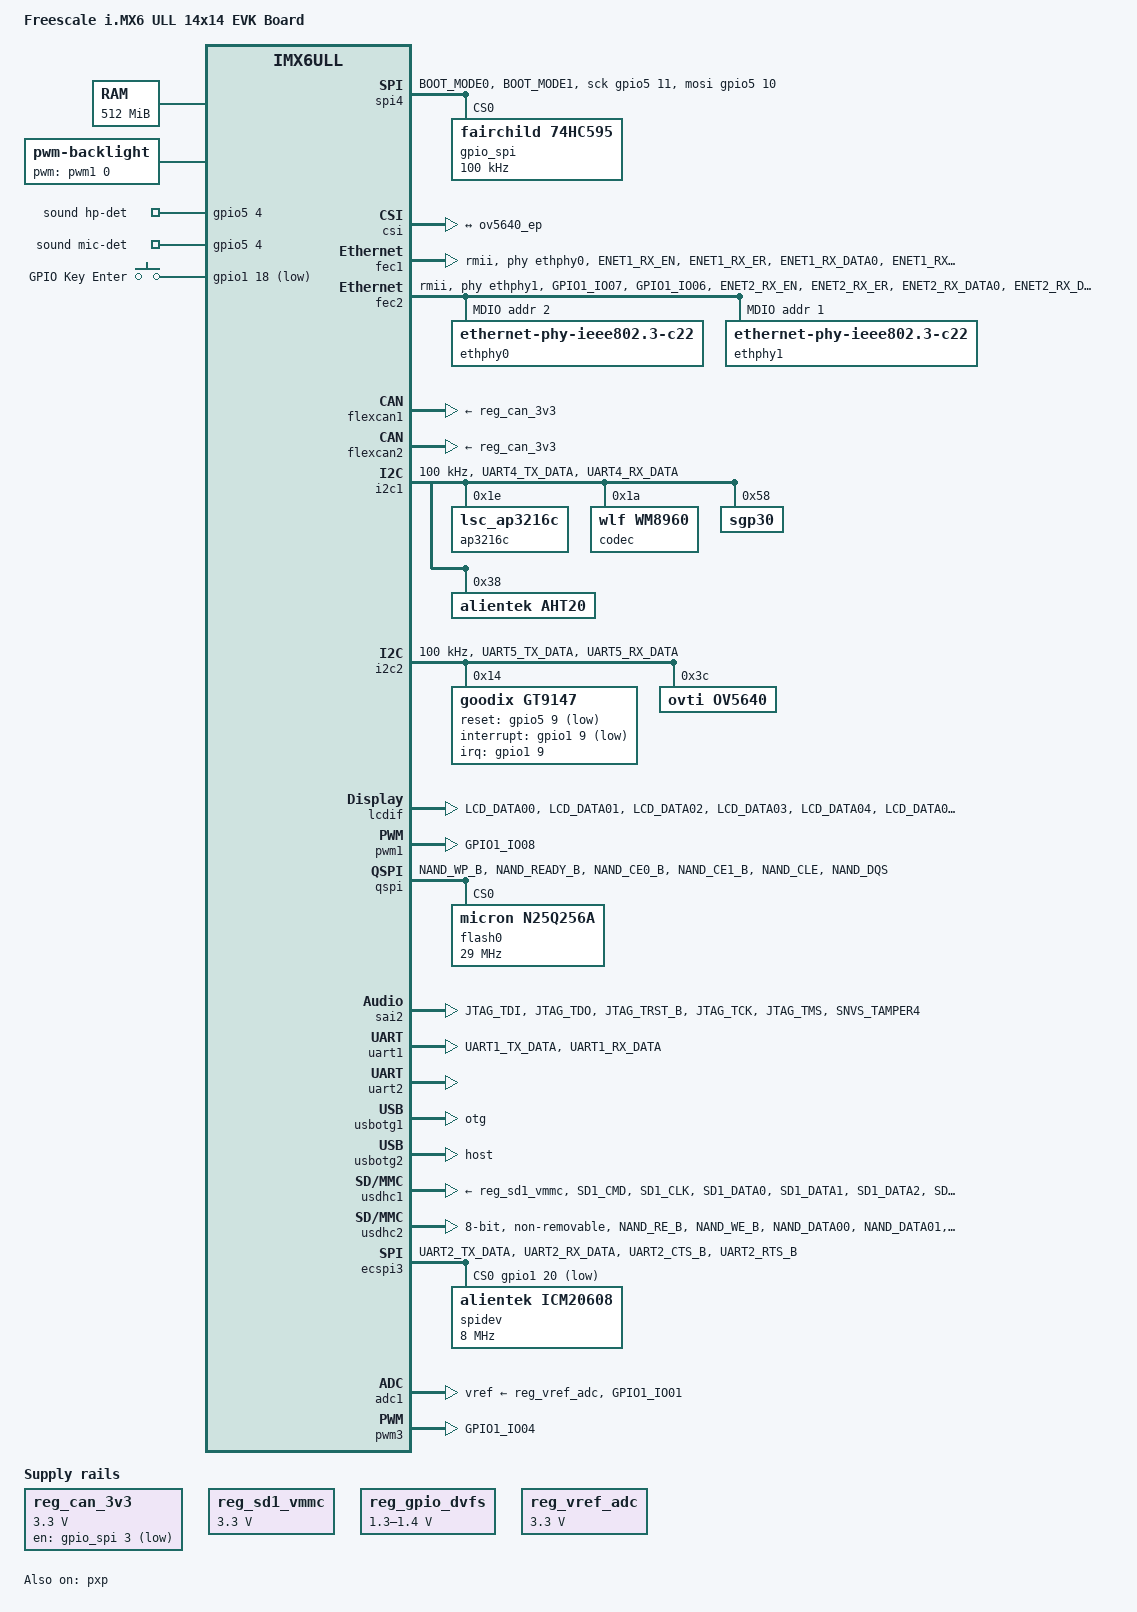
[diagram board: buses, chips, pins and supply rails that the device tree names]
/*
 * Copyright (C) 2016 Freescale Semiconductor, Inc.
 *
 * This program is free software; you can redistribute it and/or modify
 * it under the terms of the GNU General Public License version 2 as
 * published by the Free Software Foundation.
 */

/dts-v1/;

#include <dt-bindings/input/input.h>
#include "imx6ull.dtsi"

#define ATK_CAMERA_ON 1
#define ATK_CAMERA_OFF 0

/ {
	model = "Freescale i.MX6 ULL 14x14 EVK Board";
	compatible = "fsl,imx6ull-14x14-evk", "fsl,imx6ull";

	chosen {
		stdout-path = &uart1;
	};

	memory {
		reg = <0x80000000 0x20000000>;
	};

	reserved-memory {
		#address-cells = <1>;
		#size-cells = <1>;
		ranges;

		linux,cma {
			compatible = "shared-dma-pool";
			reusable;
			size = <0x14000000>;
			linux,cma-default;
		};
	};

	backlight {
		compatible = "pwm-backlight";
		pwms = <&pwm1 0 5000000>;
		brightness-levels = <0 4 8 16 32 64 128 255>;
		default-brightness-level = <6>;
		status = "okay";
	};

	pxp_v4l2 {
		compatible = "fsl,imx6ul-pxp-v4l2", "fsl,imx6sx-pxp-v4l2", "fsl,imx6sl-pxp-v4l2";
		status = "okay";
	};

	regulators {
		compatible = "simple-bus";
		#address-cells = <1>;
		#size-cells = <0>;

		reg_can_3v3: regulator@0 {
			compatible = "regulator-fixed";
			reg = <0>;
			regulator-name = "can-3v3";
			regulator-min-microvolt = <3300000>;
			regulator-max-microvolt = <3300000>;
			gpios = <&gpio_spi 3 GPIO_ACTIVE_LOW>;
		};

		// reg_vref_3v3: regulator@4 {
		// 	compatible = "regulator-fixed";
		// 	regulator-name = "VREF-3V3";
		// 	regulator-min-microvolt = <3300000>;
		// 	regulator-max-microvolt = <3300000>;
		//};	

		reg_sd1_vmmc: regulator@1 {
			compatible = "regulator-fixed";
			regulator-name = "VSD_3V3";
			regulator-min-microvolt = <3300000>;
			regulator-max-microvolt = <3300000>;
			enable-active-high;
		};

		reg_gpio_dvfs: regulator-gpio {
			compatible = "regulator-gpio";
			pinctrl-names = "default";
			pinctrl-0 = <&pinctrl_dvfs>;
			regulator-min-microvolt = <1300000>;
			regulator-max-microvolt = <1400000>;
			regulator-name = "gpio_dvfs";
			regulator-type = "voltage";
			gpios = <&gpio5 3 GPIO_ACTIVE_HIGH>;
			states = <1300000 0x1 1400000 0x0>;
		};

		/* 添加参考电源子节点 */
		reg_vref_adc: regulator@2 {
			compatible = "regulator-fixed";
			regulator-name = "VREF_3V3";
			regulator-min-microvolt = <3300000>;
			regulator-max-microvolt = <3300000>;
		};
	};

	sound {
		compatible = "fsl,imx6ul-evk-wm8960",
			   "fsl,imx-audio-wm8960";
		model = "wm8960-audio";
		cpu-dai = <&sai2>;
		audio-codec = <&codec>;
		asrc-controller = <&asrc>;
		codec-master;
		gpr = <&gpr 4 0x100000 0x100000>;
		/*
                 * hp-det = <hp-det-pin hp-det-polarity>;
		 * hp-det-pin: JD1 JD2  or JD3
		 * hp-det-polarity = 0: hp detect high for headphone
		 * hp-det-polarity = 1: hp detect high for speaker
		 */
		hp-det = <3 0>;
		hp-det-gpios = <&gpio5 4 0>;
		mic-det-gpios = <&gpio5 4 0>;
		audio-routing =
			"Headphone Jack", "HP_L",
			"Headphone Jack", "HP_R",
			"Ext Spk", "SPK_LP",
			"Ext Spk", "SPK_LN",
			"Ext Spk", "SPK_RP",
			"Ext Spk", "SPK_RN",
			"LINPUT2", "Mic Jack",
			"LINPUT3", "Mic Jack",
			"RINPUT1", "Main MIC",
			"RINPUT2", "Main MIC",
			"Mic Jack", "MICB",
			"Main MIC", "MICB",
			"CPU-Playback", "ASRC-Playback",
			"Playback", "CPU-Playback",
			"ASRC-Capture", "CPU-Capture",
			"CPU-Capture", "Capture";
	};

	spi4 {
		compatible = "spi-gpio";
		pinctrl-names = "default";
		pinctrl-0 = <&pinctrl_spi4>;
		status = "okay";
		gpio-sck = <&gpio5 11 0>;
		gpio-mosi = <&gpio5 10 0>;
		//cs-gpios = <&gpio5 7 0>;
		#address-cells = <1>;
		#size-cells = <0>;

		gpio_spi: gpio_spi@0 {
			compatible = "fairchild,74hc595";
			gpio-controller;
			#gpio-cells = <2>;
			reg = <0>;
			registers-number = <1>;
			registers-default = /bits/ 8 <0x57>;
			spi-max-frequency = <100000>;
		};	
	};

	/* I.MX6ULL  LED*/
	/*
	imx_led{
		pinctrl-name = "default";
		compatible = "imx_led";
		pinctrl-0 = <&pinctrl_led>;
		gpio_led = <&gpio1 9 GPIO_ACTIVE_HIGH>;
	};
	*/
	/* I.MX6ULL  BEEP*/
	imx_beep{
		pinctrl-name = "default";
		pinctrl-0 = <&pinctrl_beep>;
		gpio_beep = <&gpio5 1 GPIO_ACTIVE_LOW>;
	};

	gpio-keys { 
		compatible = "gpio-keys";
		#address-cells = <1>;
		#size-cells = <0>;
		autorepeat;  
		key0 { 
			label = "GPIO Key Enter"; 
			linux,code = <KEY_ENTER>;
			gpios = <&gpio1 18 GPIO_ACTIVE_LOW>;
		};
	};

	/* 风扇 */
	imx_fan{
		pinctrl-name = "default";
		pinctrl-0 = <&pinctrl_fan>;
		gpio_fan = <&gpio1 26 GPIO_ACTIVE_LOW>;
	};

	/* 灌溉设备 */
	imx_irr{
		pinctrl-name = "default";
		pinctrl-0 = <&pinctrl_irr>;
		gpio_irr = <&gpio1 27 GPIO_ACTIVE_LOW>;
	};
};

&cpu0 {
	arm-supply = <&reg_arm>;
	soc-supply = <&reg_soc>;
	dc-supply = <&reg_gpio_dvfs>;
};

&clks {
	assigned-clocks = <&clks IMX6UL_CLK_PLL4_AUDIO_DIV>;
	assigned-clock-rates = <786432000>;
};

&csi {
	status = "okay";

	port {
		csi1_ep: endpoint {
			remote-endpoint = <&ov5640_ep>;
		};
	};
};

&fec1 {
	pinctrl-names = "default";
	pinctrl-0 = <&pinctrl_enet1
				 &pinctrl_enet1_reset>;
	phy-mode = "rmii";
	phy-handle = <&ethphy0>;
	phy-reset-gpios = <&gpio5 7 GPIO_ACTIVE_LOW>;
	phy-reset-duration = <200>;
	status = "okay";
};

&fec2 {
	pinctrl-names = "default";
	pinctrl-0 = <&pinctrl_enet2
				 &pinctrl_enet2_reset>;
	phy-mode = "rmii";
	phy-handle = <&ethphy1>;
	phy-reset-gpios = <&gpio5 8 GPIO_ACTIVE_LOW>;
	phy-reset-duration = <200>;
	status = "okay";

	mdio {
		#address-cells = <1>;
		#size-cells = <0>;

		ethphy0: ethernet-phy@2 {
			compatible = "ethernet-phy-ieee802.3-c22";
			smsc,disable-energy-detect;
			reg = <2>;
		};

		ethphy1: ethernet-phy@1 {
			compatible = "ethernet-phy-ieee802.3-c22";
			smsc,disable-energy-detect;
			reg = <1>;
		};
	};
};

&flexcan1 {
	pinctrl-names = "default";
	pinctrl-0 = <&pinctrl_flexcan1>;
	xceiver-supply = <&reg_can_3v3>;
	status = "okay";
};

&flexcan2 {
	pinctrl-names = "default";
	pinctrl-0 = <&pinctrl_flexcan2>;
	xceiver-supply = <&reg_can_3v3>;
	status = "okay";
};

&gpc {
	fsl,cpu_pupscr_sw2iso = <0x1>;
	fsl,cpu_pupscr_sw = <0x0>;
	fsl,cpu_pdnscr_iso2sw = <0x1>;
	fsl,cpu_pdnscr_iso = <0x1>;
	fsl,ldo-bypass = <0>; /* DCDC, ldo-enable */
};

&i2c1 {
	clock-frequency = <100000>;
	pinctrl-names = "default";
	pinctrl-0 = <&pinctrl_i2c1>;
	status = "okay";

	ap3216c@1e{
		compatible = "lsc_ap3216c";
		reg = <0x1e>;
	};

	/* 音频编解码芯片 */
	codec: wm8960@1a {
		compatible = "wlf,wm8960";
		reg = <0x1a>;
		clocks = <&clks IMX6UL_CLK_SAI2>;
		clock-names = "mclk";
		wlf,shared-lrclk;
	};
	
	/* SGP30二氧化碳检测传感器 */
	sgp30@58{
		compatible = "sgp30";
		reg = <0x58>;
	};

	/* AHT20温湿度传感器 */
	//因为引脚有冲突，调试时此传感器只能与sgp30二选一使用，同时使用只能用一拖二的杜邦线或者用面包板当中转
	aht20@38{
		compatible = "alientek,aht20";
		reg = <0x38>;
	};
};

&i2c2 {
	clock-frequency = <100000>;
	pinctrl-names = "default";
	pinctrl-0 = <&pinctrl_i2c2>;
	status = "okay";

	// /* 7寸FT5426触摸芯片 */
	// ft5426: ft5426@38 {
	// 	compatible = "edt,edt-ft5426","edt,edt-ft5406";
	// 	reg = <0x38>;
	// 	pinctrl-names = "default";
	// 	pinctrl-0 = <&pinctrl_tsc
	// 				&pinctrl_tsc_reset>;
	// 	interrupt-parent = <&gpio1>;
	// 	interrupts = <9 8>;/* 中断号9 下降沿触发 */
	// 	reset-gpios = <&gpio5 9 GPIO_ACTIVE_LOW>;/* 复位引脚低点平有效 */
	// 	interrupt-gpios = <&gpio1 9 GPIO_ACTIVE_LOW>;/* 中断引脚 gpio1 io9 低点平有效 */
	// 	status = "okay";
	// };

	/* 添加GT9147芯片的信息 */
	gt9147: gt9147@14 {
		compatible = "goodix,gt9147", "goodix,gt9xx";
		reg = <0x14>;									//器件地址为0x14
		pinctrl-names = "default";
		pinctrl-0 = <&pinctrl_tsc
					&pinctrl_tsc_reset>;				//描述复位IO和中断IO所使用的节点
		interrupt-parent = <&gpio1>;					//中断对应的GPIO组为GPIO1
		interrupts = <9 0>;								//中断IO对应的是GPIO1组的IO09
		reset-gpios = <&gpio5 9 GPIO_ACTIVE_LOW>;		//复位IO对应的GPIO为GPIO5_IO09
		interrupt-gpios = <&gpio1 9 GPIO_ACTIVE_LOW>;	//中断IO对应的GPIO为GPIO1_IO09
	};

	// codec: wm8960@1a {
	// 	compatible = "wlf,wm8960";
	// 	reg = <0x1a>;
	// 	clocks = <&clks IMX6UL_CLK_SAI2>;
	// 	clock-names = "mclk";
	// 	wlf,shared-lrclk;
	// };
#if ATK_CAMERA_ON
		ov5640: ov5640@3c {
		compatible = "ovti,ov5640";
		reg = <0x3c>;
		pinctrl-names = "default";
		//pinctrl-0 = <&pinctrl_csi1
		//	     &csi_pwn_rst>;
		//clocks = <&clks IMX6UL_CLK_CSI>;
		clock-names = "csi_mclk";
		//pwn-gpios = <&gpio1 4 1>;
		//rst-gpios = <&gpio1 2 0>;
		csi_id = <0>;
		mclk = <24000000>;
		mclk_source = <0>;
		status = "okay";
		port {
			ov5640_ep: endpoint {
				//remote-endpoint = <&csi1_ep>;
			};
		};
	};
#endif
};

&iomuxc {
	pinctrl-names = "default";
	pinctrl-0 = <&pinctrl_hog_1>;
	imx6ul-evk {
		pinctrl_hog_1: hoggrp-1 {
			fsl,pins = <
				MX6UL_PAD_UART1_RTS_B__GPIO1_IO19	0x17059 /* SD1 CD */
				MX6UL_PAD_GPIO1_IO05__USDHC1_VSELECT	0x17059 /* SD1 VSELECT */
			>;
		};

		pinctrl_csi1: csi1grp {
			fsl,pins = <
				MX6UL_PAD_CSI_MCLK__CSI_MCLK		0x1b008
				MX6UL_PAD_CSI_PIXCLK__CSI_PIXCLK	0x1b008
				MX6UL_PAD_CSI_VSYNC__CSI_VSYNC		0x1b008
				MX6UL_PAD_CSI_HSYNC__CSI_HSYNC		0x1b008
				MX6UL_PAD_CSI_DATA00__CSI_DATA02	0x1b008
				MX6UL_PAD_CSI_DATA01__CSI_DATA03	0x1b008
				MX6UL_PAD_CSI_DATA02__CSI_DATA04	0x1b008
				MX6UL_PAD_CSI_DATA03__CSI_DATA05	0x1b008
				MX6UL_PAD_CSI_DATA04__CSI_DATA06	0x1b008
				MX6UL_PAD_CSI_DATA05__CSI_DATA07	0x1b008
				MX6UL_PAD_CSI_DATA06__CSI_DATA08	0x1b008
				MX6UL_PAD_CSI_DATA07__CSI_DATA09	0x1b008
			>;
		};

		pinctrl_enet1: enet1grp {
			fsl,pins = <
				MX6UL_PAD_ENET1_RX_EN__ENET1_RX_EN	0x1b0b0
				MX6UL_PAD_ENET1_RX_ER__ENET1_RX_ER	0x1b0b0
				MX6UL_PAD_ENET1_RX_DATA0__ENET1_RDATA00	0x1b0b0
				MX6UL_PAD_ENET1_RX_DATA1__ENET1_RDATA01	0x1b0b0
				MX6UL_PAD_ENET1_TX_EN__ENET1_TX_EN	0x1b0b0
				MX6UL_PAD_ENET1_TX_DATA0__ENET1_TDATA00	0x1b0b0
				MX6UL_PAD_ENET1_TX_DATA1__ENET1_TDATA01	0x1b0b0
				MX6UL_PAD_ENET1_TX_CLK__ENET1_REF_CLK1	0x4001b031
			>;
		};

		pinctrl_enet2: enet2grp {
			fsl,pins = <
				MX6UL_PAD_GPIO1_IO07__ENET2_MDC		0x1b0b0
				MX6UL_PAD_GPIO1_IO06__ENET2_MDIO	0x1b0b0
				MX6UL_PAD_ENET2_RX_EN__ENET2_RX_EN	0x1b0b0
				MX6UL_PAD_ENET2_RX_ER__ENET2_RX_ER	0x1b0b0
				MX6UL_PAD_ENET2_RX_DATA0__ENET2_RDATA00	0x1b0b0
				MX6UL_PAD_ENET2_RX_DATA1__ENET2_RDATA01	0x1b0b0
				MX6UL_PAD_ENET2_TX_EN__ENET2_TX_EN	0x1b0b0
				MX6UL_PAD_ENET2_TX_DATA0__ENET2_TDATA00	0x1b0b0
				MX6UL_PAD_ENET2_TX_DATA1__ENET2_TDATA01	0x1b0b0
				MX6UL_PAD_ENET2_TX_CLK__ENET2_REF_CLK2	0x4001b031
			>;
		};

		pinctrl_flexcan1: flexcan1grp{
			fsl,pins = <
			/*
				MX6UL_PAD_UART3_RTS_B__FLEXCAN1_RX	0x1b020
				MX6UL_PAD_UART3_CTS_B__FLEXCAN1_TX	0x1b020
			*/
			>;
		};

		pinctrl_flexcan2: flexcan2grp{
			fsl,pins = <
				/*
				MX6UL_PAD_UART2_RTS_B__FLEXCAN2_RX	0x1b020
				MX6UL_PAD_UART2_CTS_B__FLEXCAN2_TX	0x1b020
				*/
			>;
		};

		pinctrl_i2c1: i2c1grp {
			fsl,pins = <
				MX6UL_PAD_UART4_TX_DATA__I2C1_SCL 0x4001b8b0
				MX6UL_PAD_UART4_RX_DATA__I2C1_SDA 0x4001b8b0
				
			>;
		};

		pinctrl_i2c2: i2c2grp {
			fsl,pins = <
				MX6UL_PAD_UART5_TX_DATA__I2C2_SCL 0x4001b8b0
				MX6UL_PAD_UART5_RX_DATA__I2C2_SDA 0x4001b8b0
			>;
		};

		pinctrl_lcdif_dat: lcdifdatgrp {
			fsl,pins = <
				MX6UL_PAD_LCD_DATA00__LCDIF_DATA00  0x49
				MX6UL_PAD_LCD_DATA01__LCDIF_DATA01  0x49
				MX6UL_PAD_LCD_DATA02__LCDIF_DATA02  0x49
				MX6UL_PAD_LCD_DATA03__LCDIF_DATA03  0x49
				MX6UL_PAD_LCD_DATA04__LCDIF_DATA04  0x49
				MX6UL_PAD_LCD_DATA05__LCDIF_DATA05  0x49
				MX6UL_PAD_LCD_DATA06__LCDIF_DATA06  0x49
				MX6UL_PAD_LCD_DATA07__LCDIF_DATA07  0x49
				MX6UL_PAD_LCD_DATA08__LCDIF_DATA08  0x49
				MX6UL_PAD_LCD_DATA09__LCDIF_DATA09  0x49
				MX6UL_PAD_LCD_DATA10__LCDIF_DATA10  0x49
				MX6UL_PAD_LCD_DATA11__LCDIF_DATA11  0x49
				MX6UL_PAD_LCD_DATA12__LCDIF_DATA12  0x49
				MX6UL_PAD_LCD_DATA13__LCDIF_DATA13  0x49
				MX6UL_PAD_LCD_DATA14__LCDIF_DATA14  0x49
				MX6UL_PAD_LCD_DATA15__LCDIF_DATA15  0x49
				MX6UL_PAD_LCD_DATA16__LCDIF_DATA16  0x49
				MX6UL_PAD_LCD_DATA17__LCDIF_DATA17  0x49
				MX6UL_PAD_LCD_DATA18__LCDIF_DATA18  0x49
				MX6UL_PAD_LCD_DATA19__LCDIF_DATA19  0x49
				MX6UL_PAD_LCD_DATA20__LCDIF_DATA20  0x49
				MX6UL_PAD_LCD_DATA21__LCDIF_DATA21  0x49
				MX6UL_PAD_LCD_DATA22__LCDIF_DATA22  0x49
				MX6UL_PAD_LCD_DATA23__LCDIF_DATA23  0x49
			>;
		};

		pinctrl_lcdif_ctrl: lcdifctrlgrp {
			fsl,pins = <
				MX6UL_PAD_LCD_CLK__LCDIF_CLK	    0x49
				MX6UL_PAD_LCD_ENABLE__LCDIF_ENABLE  0x49
				MX6UL_PAD_LCD_HSYNC__LCDIF_HSYNC    0x49
				MX6UL_PAD_LCD_VSYNC__LCDIF_VSYNC    0x49
			>;
		};
		/* 添加pwm1的pinctrl子系统 */
		pinctrl_pwm1: pwm1grp {
			fsl,pins = <
				MX6UL_PAD_GPIO1_IO08__PWM1_OUT   0x110b0
			>;
		};

		pinctrl_qspi: qspigrp {
			fsl,pins = <
				MX6UL_PAD_NAND_WP_B__QSPI_A_SCLK      0x70a1
				MX6UL_PAD_NAND_READY_B__QSPI_A_DATA00 0x70a1
				MX6UL_PAD_NAND_CE0_B__QSPI_A_DATA01   0x70a1
				MX6UL_PAD_NAND_CE1_B__QSPI_A_DATA02   0x70a1
				MX6UL_PAD_NAND_CLE__QSPI_A_DATA03     0x70a1
				MX6UL_PAD_NAND_DQS__QSPI_A_SS0_B      0x70a1
			>;
		};

		pinctrl_sai2: sai2grp {
			fsl,pins = <
				MX6UL_PAD_JTAG_TDI__SAI2_TX_BCLK	0x17088
				MX6UL_PAD_JTAG_TDO__SAI2_TX_SYNC	0x17088
				MX6UL_PAD_JTAG_TRST_B__SAI2_TX_DATA	0x11088
				MX6UL_PAD_JTAG_TCK__SAI2_RX_DATA	0x11088
				MX6UL_PAD_JTAG_TMS__SAI2_MCLK		0x17088
			>;
		};

		pinctrl_tsc: tscgrp {
			fsl,pins = <
				/*MX6UL_PAD_GPIO1_IO09__GPIO1_IO09 0xF080*/
				/* 4.3 寸 RGB 屏幕,GT9147 */
				MX6UL_PAD_GPIO1_IO09__GPIO1_IO09 	0x79		/* 触摸屏中断IO */
			>;
		};

		pinctrl_uart1: uart1grp {
			fsl,pins = <
				MX6UL_PAD_UART1_TX_DATA__UART1_DCE_TX 0x1b0b1
				MX6UL_PAD_UART1_RX_DATA__UART1_DCE_RX 0x1b0b1
			>;
		};

		pinctrl_uart2: uart2grp {
			fsl,pins = <
				/*
				MX6UL_PAD_UART2_TX_DATA__UART2_DCE_TX	0x1b0b1
				MX6UL_PAD_UART2_RX_DATA__UART2_DCE_RX	0x1b0b1
				MX6UL_PAD_UART3_RX_DATA__UART2_DCE_RTS	0x1b0b1 
				MX6UL_PAD_UART3_TX_DATA__UART2_DCE_CTS	0x1b0b1
				*/
			>;
		};

		pinctrl_uart2dte: uart2dtegrp {
			fsl,pins = <
				/*
				MX6UL_PAD_UART2_TX_DATA__UART2_DTE_RX	0x1b0b1
				MX6UL_PAD_UART2_RX_DATA__UART2_DTE_TX	0x1b0b1
				MX6UL_PAD_UART3_RX_DATA__UART2_DTE_CTS	0x1b0b1
				MX6UL_PAD_UART3_TX_DATA__UART2_DTE_RTS	0x1b0b1
				*/
			>;
		};

		pinctrl_usdhc1: usdhc1grp {
			fsl,pins = <
				MX6UL_PAD_SD1_CMD__USDHC1_CMD     0x17059
				MX6UL_PAD_SD1_CLK__USDHC1_CLK     0x10071
				MX6UL_PAD_SD1_DATA0__USDHC1_DATA0 0x17059
				MX6UL_PAD_SD1_DATA1__USDHC1_DATA1 0x17059
				MX6UL_PAD_SD1_DATA2__USDHC1_DATA2 0x17059
				MX6UL_PAD_SD1_DATA3__USDHC1_DATA3 0x17059
			>;
		};

		pinctrl_usdhc1_100mhz: usdhc1grp100mhz {
			fsl,pins = <
				MX6UL_PAD_SD1_CMD__USDHC1_CMD     0x170b9
				MX6UL_PAD_SD1_CLK__USDHC1_CLK     0x100b9
				MX6UL_PAD_SD1_DATA0__USDHC1_DATA0 0x170b9
				MX6UL_PAD_SD1_DATA1__USDHC1_DATA1 0x170b9
				MX6UL_PAD_SD1_DATA2__USDHC1_DATA2 0x170b9
				MX6UL_PAD_SD1_DATA3__USDHC1_DATA3 0x170b9
			>;
		};

		pinctrl_usdhc1_200mhz: usdhc1grp200mhz {
			fsl,pins = <
				MX6UL_PAD_SD1_CMD__USDHC1_CMD     0x170f9
				MX6UL_PAD_SD1_CLK__USDHC1_CLK     0x100f9
				MX6UL_PAD_SD1_DATA0__USDHC1_DATA0 0x170f9
				MX6UL_PAD_SD1_DATA1__USDHC1_DATA1 0x170f9
				MX6UL_PAD_SD1_DATA2__USDHC1_DATA2 0x170f9
				MX6UL_PAD_SD1_DATA3__USDHC1_DATA3 0x170f9
			>;
		};

		pinctrl_usdhc2: usdhc2grp {
			fsl,pins = <
				MX6UL_PAD_NAND_RE_B__USDHC2_CLK     0x10069
				MX6UL_PAD_NAND_WE_B__USDHC2_CMD     0x17059
				MX6UL_PAD_NAND_DATA00__USDHC2_DATA0 0x17059
				MX6UL_PAD_NAND_DATA01__USDHC2_DATA1 0x17059
				MX6UL_PAD_NAND_DATA02__USDHC2_DATA2 0x17059
				MX6UL_PAD_NAND_DATA03__USDHC2_DATA3 0x17059
			>;
		};

		pinctrl_usdhc2_8bit: usdhc2grp_8bit {
			fsl,pins = <
				MX6UL_PAD_NAND_RE_B__USDHC2_CLK     0x10069
				MX6UL_PAD_NAND_WE_B__USDHC2_CMD     0x17059
				MX6UL_PAD_NAND_DATA00__USDHC2_DATA0 0x17059
				MX6UL_PAD_NAND_DATA01__USDHC2_DATA1 0x17059
				MX6UL_PAD_NAND_DATA02__USDHC2_DATA2 0x17059
				MX6UL_PAD_NAND_DATA03__USDHC2_DATA3 0x17059
				MX6UL_PAD_NAND_DATA04__USDHC2_DATA4 0x17059
				MX6UL_PAD_NAND_DATA05__USDHC2_DATA5 0x17059
				MX6UL_PAD_NAND_DATA06__USDHC2_DATA6 0x17059
				MX6UL_PAD_NAND_DATA07__USDHC2_DATA7 0x17059
			>;
		};

		pinctrl_usdhc2_8bit_100mhz: usdhc2grp_8bit_100mhz {
			fsl,pins = <
				MX6UL_PAD_NAND_RE_B__USDHC2_CLK     0x100b9
				MX6UL_PAD_NAND_WE_B__USDHC2_CMD     0x170b9
				MX6UL_PAD_NAND_DATA00__USDHC2_DATA0 0x170b9
				MX6UL_PAD_NAND_DATA01__USDHC2_DATA1 0x170b9
				MX6UL_PAD_NAND_DATA02__USDHC2_DATA2 0x170b9
				MX6UL_PAD_NAND_DATA03__USDHC2_DATA3 0x170b9
				MX6UL_PAD_NAND_DATA04__USDHC2_DATA4 0x170b9
				MX6UL_PAD_NAND_DATA05__USDHC2_DATA5 0x170b9
				MX6UL_PAD_NAND_DATA06__USDHC2_DATA6 0x170b9
				MX6UL_PAD_NAND_DATA07__USDHC2_DATA7 0x170b9
			>;
		};

		pinctrl_usdhc2_8bit_200mhz: usdhc2grp_8bit_200mhz {
			fsl,pins = <
				MX6UL_PAD_NAND_RE_B__USDHC2_CLK     0x100f9
				MX6UL_PAD_NAND_WE_B__USDHC2_CMD     0x170f9
				MX6UL_PAD_NAND_DATA00__USDHC2_DATA0 0x170f9
				MX6UL_PAD_NAND_DATA01__USDHC2_DATA1 0x170f9
				MX6UL_PAD_NAND_DATA02__USDHC2_DATA2 0x170f9
				MX6UL_PAD_NAND_DATA03__USDHC2_DATA3 0x170f9
				MX6UL_PAD_NAND_DATA04__USDHC2_DATA4 0x170f9
				MX6UL_PAD_NAND_DATA05__USDHC2_DATA5 0x170f9
				MX6UL_PAD_NAND_DATA06__USDHC2_DATA6 0x170f9
				MX6UL_PAD_NAND_DATA07__USDHC2_DATA7 0x170f9
			>;
		};

		pinctrl_wdog: wdoggrp {
			fsl,pins = <
				MX6UL_PAD_LCD_RESET__WDOG1_WDOG_ANY    0x30b0
			>;
		};

		/* I.MX6ULL	 LED*/
		/*
		pinctrl_led:led{
			fsl,pins = <
				MX6UL_PAD_GPIO1_IO08__GPIO1_IO08		0x10b0
			>;
		};
		*/

		/* I.MX6ULL	 BEEP*/
		pinctrl_beep:beep{
			fsl,pins = <
				MX6ULL_PAD_SNVS_TAMPER1__GPIO5_IO01		0x10b0
			>;

		};

		/* I.MX6ULL	 KEY*/
		pinctrl_key:key{
			fsl,pins = <
				MX6UL_PAD_UART1_CTS_B__GPIO1_IO18		0Xf080
			>;
		};
		/* I.MX6ULL	 icm20608*/
		pinctrl_spi3:icm20608{
			fsl,pins = <
				MX6UL_PAD_UART2_TX_DATA__GPIO1_IO20		0x10b0	/* 软件片选 */
				MX6UL_PAD_UART2_RX_DATA__ECSPI3_SCLK	0x10b1  /* SPI3 SCLK */
				MX6UL_PAD_UART2_CTS_B__ECSPI3_MOSI		0x10b1  /* SPI3 MOSI*/
				MX6UL_PAD_UART2_RTS_B__ECSPI3_MISO		0x10b1  /* SPI3 MISO*/
			>;
		};
		/* I.MX6ULL	 dht11*/
		pinctrl_dht11:dht11{
			fsl,pins = <
				MX6UL_PAD_GPIO1_IO05__GPIO1_IO05 		0x10b0
			>;
		};
		/* I.MX6ULL	 Ds18b20*/
		pinctrl_Ds18b20:Ds18b20{
			fsl,pins = <
				/* MX6UL_PAD_GPIO1_IO02__GPIO1_IO02 		0x10b0 */
			>;
		};
		/* I.MX6ULL	 ADC*/
		pinctrl_adc1:adc1grp{
			fsl,pins = <
				/*MX6UL_PAD_GPIO1_IO03__GPIO1_IO03 		0xb0*/
				MX6UL_PAD_GPIO1_IO01__GPIO1_IO01 		0xb0
			>;
		};
		/* I.MX6ULL	 fan*/
		pinctrl_fan:fan{
			fsl,pins = <
				MX6UL_PAD_UART3_CTS_B__GPIO1_IO26 		0x10b0
			>;
		};
		/* I.MX6ULL	 irr*/
		pinctrl_irr:irr{
			fsl,pins = <
				MX6UL_PAD_UART3_RTS_B__GPIO1_IO27 		0x10b0
			>;
		};
		pinctrl_pwm3: pwm3grp {
			fsl,pins = <  
			MX6UL_PAD_GPIO1_IO04__PWM3_OUT 0x110b0
			>;
		};

		csi_pwn_rst: csi_pwn_rstgrp {
			fsl,pins = <
				/*MX6UL_PAD_GPIO1_IO02__GPIO1_IO02	0x10b0*/
				/*MX6UL_PAD_GPIO1_IO04__GPIO1_IO04	0x10b0*/
			>;
		};

	};
};

&iomuxc_snvs {
	pinctrl-names = "default_snvs";
        pinctrl-0 = <&pinctrl_hog_2>;
        imx6ul-evk {
		pinctrl_hog_2: hoggrp-2 {
                        fsl,pins = <
                                MX6ULL_PAD_SNVS_TAMPER0__GPIO5_IO00      0x80000000
                        >;
                };

		pinctrl_dvfs: dvfsgrp {
                        fsl,pins = <
                                MX6ULL_PAD_SNVS_TAMPER3__GPIO5_IO03      0x79
                        >;
                };
		
		pinctrl_lcdif_reset: lcdifresetgrp {
                        fsl,pins = <
                                /* used for lcd reset */
                                /* MX6ULL_PAD_SNVS_TAMPER9__GPIO5_IO09  0x79 */
                        >;
                };

		pinctrl_spi4: spi4grp {
                        fsl,pins = <
                                MX6ULL_PAD_BOOT_MODE0__GPIO5_IO10        0x70a1
                                MX6ULL_PAD_BOOT_MODE1__GPIO5_IO11        0x70a1
                        >;
                };

                pinctrl_sai2_hp_det_b: sai2_hp_det_grp {
                        fsl,pins = <
                                MX6ULL_PAD_SNVS_TAMPER4__GPIO5_IO04   0x17059
                        >;
                };
				/* 2021 7.8 */
				pinctrl_tsc_reset: tsc_reset {
						fsl,pins = <
								MX6ULL_PAD_SNVS_TAMPER9__GPIO5_IO09 0x10b0
						>;
				};

				/*enet1 reset zuozhongkai*/
				pinctrl_enet1_reset: enet1resetgrp {
					fsl,pins = <
						/* used for enet1 reset */
						MX6ULL_PAD_SNVS_TAMPER7__GPIO5_IO07 0x10B0
						>;
				};
				/*enet2 reset zuozhongkai*/
				pinctrl_enet2_reset: enet2resetgrp {
					fsl,pins = <
					/* used for enet2 reset */
					MX6ULL_PAD_SNVS_TAMPER8__GPIO5_IO08 0x10B0
						>;
				};
        };
};

&lcdif {
	pinctrl-names = "default";
	pinctrl-0 = <&pinctrl_lcdif_dat
		     &pinctrl_lcdif_ctrl>;
	display = <&display0>;
	status = "okay";

	display0: display {
		bits-per-pixel = <32>;					//一个像素占用32bit
		bus-width = <24>;						//数据总线宽度

		display-timings {
			native-mode = <&timing0>;
			timing0: timing0 {					/* 以下要根据使用的屏幕进行修改 */
			clock-frequency = <31000000>;		//LCD像素时钟，单位Hz
			hactive = <800>;					//LCD X轴像素个数
			vactive = <480>;					//LCD Y轴像素个数
			hfront-porch = <40>;				//LCD hfp参数
			hback-porch = <88>;					//LCD hbp参数
			hsync-len = <48>;					//LCD hspw参数
			vback-porch = <32>;					//LCD vbp参数
			vfront-porch = <13>;				//LCD vfp参数
			vsync-len = <3>;					//LCD vspw参数

			hsync-active = <0>;					//hsync数据线极性
			vsync-active = <0>;					//vsync数据线极性
			de-active = <1>;					//de数据线极性
			pixelclk-active = <0>;				//clk数据线极性
			};
		};
	};
};

&pwm1 {
	pinctrl-names = "default";
	pinctrl-0 = <&pinctrl_pwm1>;
	status = "okay";
};

&pxp {
	status = "okay";
};

&qspi {
	pinctrl-names = "default";
	pinctrl-0 = <&pinctrl_qspi>;
	status = "okay";
	ddrsmp=<0>;

	flash0: n25q256a@0 {
		#address-cells = <1>;
		#size-cells = <1>;
		compatible = "micron,n25q256a";
		spi-max-frequency = <29000000>;
		spi-nor,ddr-quad-read-dummy = <6>;
		reg = <0>;
	};
};

&sai2 {
	pinctrl-names = "default";
	pinctrl-0 = <&pinctrl_sai2
		     &pinctrl_sai2_hp_det_b>;

	assigned-clocks = <&clks IMX6UL_CLK_SAI2_SEL>,
			  <&clks IMX6UL_CLK_SAI2>;
	assigned-clock-parents = <&clks IMX6UL_CLK_PLL4_AUDIO_DIV>;
	assigned-clock-rates = <0>, <12288000>;

	status = "okay";
};

&uart1 {
	pinctrl-names = "default";
	pinctrl-0 = <&pinctrl_uart1>;
	status = "okay";
};

&uart2 {
	pinctrl-names = "default";
	pinctrl-0 = <&pinctrl_uart2>;
	fsl,uart-has-rtscts;
	/* for DTE mode, add below change */
	/* fsl,dte-mode; */
	/* pinctrl-0 = <&pinctrl_uart2dte>; */
	status = "okay";
};

&usbotg1 {
	dr_mode = "otg";
	srp-disable;
	hnp-disable;
	adp-disable;
	status = "okay";
};

&usbotg2 {
	dr_mode = "host";
	disable-over-current;
	status = "okay";
};

&usbphy1 {
	tx-d-cal = <0x5>;
};

&usbphy2 {
	tx-d-cal = <0x5>;
};

&usdhc1 {
	pinctrl-names = "default", "state_100mhz", "state_200mhz";
	pinctrl-0 = <&pinctrl_usdhc1>;
	pinctrl-1 = <&pinctrl_usdhc1_100mhz>;
	pinctrl-2 = <&pinctrl_usdhc1_200mhz>;
	cd-gpios = <&gpio1 19 GPIO_ACTIVE_LOW>;
	keep-power-in-suspend;
	enable-sdio-wakeup;
	vmmc-supply = <&reg_sd1_vmmc>;
	status = "okay";
};

&usdhc2 {
	pinctrl-names = "default", "state_100mhz", "state_200mhz";
	pinctrl-0 = <&pinctrl_usdhc2_8bit>;
	pinctrl-1 = <&pinctrl_usdhc2_8bit_100mhz>;
	pinctrl-2 = <&pinctrl_usdhc2_8bit_200mhz>;
	bus-width = <8>;
	non-removable;
	status = "okay";
};

&wdog1 {
	pinctrl-names = "default";
	pinctrl-0 = <&pinctrl_wdog>;
	fsl,wdog_b;
};

&ecspi3 {
	fsl,spi-num-chipselects = <1>;
	pinctrl-0 = <&pinctrl_spi3>;
	cs-gpios = <&gpio1 20 GPIO_ACTIVE_LOW>;
	pinctrl-names = "default";
	status = "okay";
	/* icm20608子节点 */
	spidev: icm20608@0 {
		compatible = "alientek,icm20608";
		spi-max-frequency = <8000000>;			/* SPI时钟频率8MHz */
		reg = <0>;
	};
};
&adc1 {
	pinctrl-names = "default";
	pinctrl-0 = <&pinctrl_adc1>;
	vref-supply = <&reg_vref_adc>;
	num-channels = <2>; //此参数为ADC的通道，扫描2个通道，0-1
	status = "okay";
};

/* 向pwm3节点追加信息 */
&pwm3 {
	pinctrl-names = "default";
	pinctrl-0 = <&pinctrl_pwm3>;
	clocks = <&clks IMX6UL_CLK_PWM3>,		//设置ipg时钟
			 <&clks IMX6UL_CLK_PWM3>;		//设置per时钟
	status = "okay";
};
